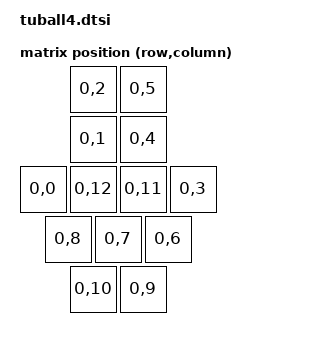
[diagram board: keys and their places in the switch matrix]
#include <dt-bindings/zmk/matrix_transform.h>

/ {
    chosen {
        zmk,physical-layout = &physical_layout0;
    };


    default_transform: keymap_transform_0 {
        compatible = "zmk,matrix-transform";
        columns = <1>;
        rows = <13>;
	/* Map represents trackball in "Landscape" orientation, aka Finger-controlled, USB connectors toward user. */
        map = <
   		 RC(0,2)    			     	RC(0,5)
		 RC(0,1)	/* Ball */	        RC(0,4)
	         RC(0,0)    RC(0,12)	RC(0,11)        RC(0,3)
                   /* Buttons on top of the middle deck */
  		       /*  BTReset BTSelect Unlock  */ 
                          RC(0,8) RC(0,7)  RC(0,6)        
               /* Slider switches on the bottom of the middle deck */
		/* Orientation Front(Default)/Backwards   Handiness R(default)/L     */
                       RC(0,10)        	     RC(0,9)              
        >;
    };
};
